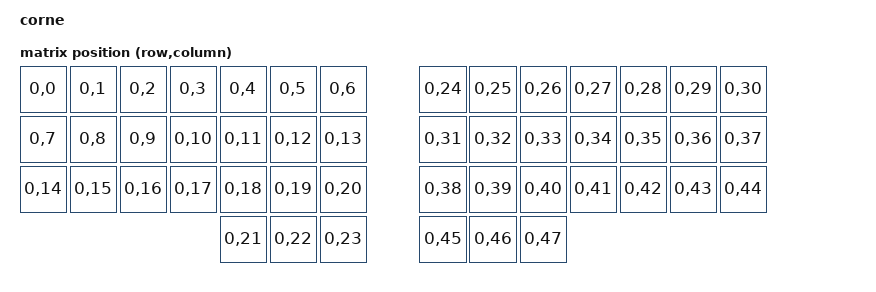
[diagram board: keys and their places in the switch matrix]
/*
* Copyright (c) 2020 The ZMK Contributors
*
* SPDX-License-Identifier: MIT
*/

/dts-v1/;
#include <nordic/nrf52840_qiaa.dtsi>
#include <dt-bindings/zmk/matrix_transform.h>


/ {
	model = "corne";
	compatible = "lnatkvat,corne";

	chosen {
		zephyr,code-partition = &code_partition;
		zephyr,sram = &sram0;
		zephyr,flash = &flash0;
    zmk,matrix-transform = &default_transform;
		// zephyr,console = &cdc_acm_uart;
	};

	default_transform: keymap_transform_0 {
		compatible = "zmk,matrix-transform";
		columns = <48>;
		rows = <1>;
		map = <
			RC(0,0)  RC(0,1)  RC(0,2)  RC(0,3)  RC(0,4)  RC(0,5)  RC(0,6)  		RC(0,24) RC(0,25) RC(0,26) RC(0,27) RC(0,28) RC(0,29) RC(0,30)
			RC(0,7)  RC(0,8)  RC(0,9)  RC(0,10) RC(0,11) RC(0,12) RC(0,13) 		RC(0,31) RC(0,32) RC(0,33) RC(0,34) RC(0,35) RC(0,36) RC(0,37)
			RC(0,14) RC(0,15) RC(0,16) RC(0,17) RC(0,18) RC(0,19) RC(0,20) 		RC(0,38) RC(0,39) RC(0,40) RC(0,41) RC(0,42) RC(0,43) RC(0,44)
																					RC(0,21) RC(0,22) RC(0,23)		RC(0,45) RC(0,46) RC(0,47)                                    
		>;
	};

// left_encoder: encoder_left {
//         compatible = "alps,ec11";
//         a-gpios = <&gpio1 26 (GPIO_ACTIVE_HIGH | GPIO_PULL_UP)>;
//         b-gpios = <&gpio0 8(GPIO_ACTIVE_HIGH | GPIO_PULL_UP)>;
//         steps = <30>;
//         status = "disabled";
//  };
// right_encoder: encoder_right {
//         compatible = "alps,ec11";
//         a-gpios = <&gpio0 28 (GPIO_ACTIVE_HIGH | GPIO_PULL_UP)>;
//         b-gpios = <&gpio0 30 (GPIO_ACTIVE_HIGH | GPIO_PULL_UP)>;
//         steps = <30>;
//         status = "disabled";
//  };
// sensors: sensors {
//         compatible = "zmk,keymap-sensors";
//         sensors = <&left_encoder &right_encoder>;
//         triggers-per-rotation = <15>;
//     };
};

&adc {
	status = "okay";
};

&gpiote {
	status = "okay";
};

&gpio0 {
	status = "okay";
};

&gpio1 {
	status = "okay";
};


// &usbd {
// 	status = "okay";
// 	cdc_acm_uart: cdc_acm_uart {
// 		compatible = "zephyr,cdc-acm-uart";
// 	};
// };

zephyr_udc0: &usbd {
    status = "okay";
};

&flash0 {
	/*
* For more information, see:
* http://docs.zephyrproject.org/latest/devices/dts/flash_partitions.html
*/
	partitions {
		compatible = "fixed-partitions";
		#address-cells = <1>;
		#size-cells = <1>;

		sd_partition: partition@0 {
			reg = <0x00000000 0x00026000>;
		};
		code_partition: partition@26000 {
			reg = <0x00026000 0x000c6000>;
		};

		/*
* The flash starting at 0x000ec000 and ending at
* 0x000f3fff is reserved for use by the application.
*/

		/*
* Storage partition will be used by FCB/LittleFS/NVS
* if enabled.
*/
		storage_partition: partition@ec000 {
			reg = <0x000ec000 0x00008000>;
		};

		boot_partition: partition@f4000 {
			reg = <0x000f4000 0x0000c000>;
		};
	};
};
